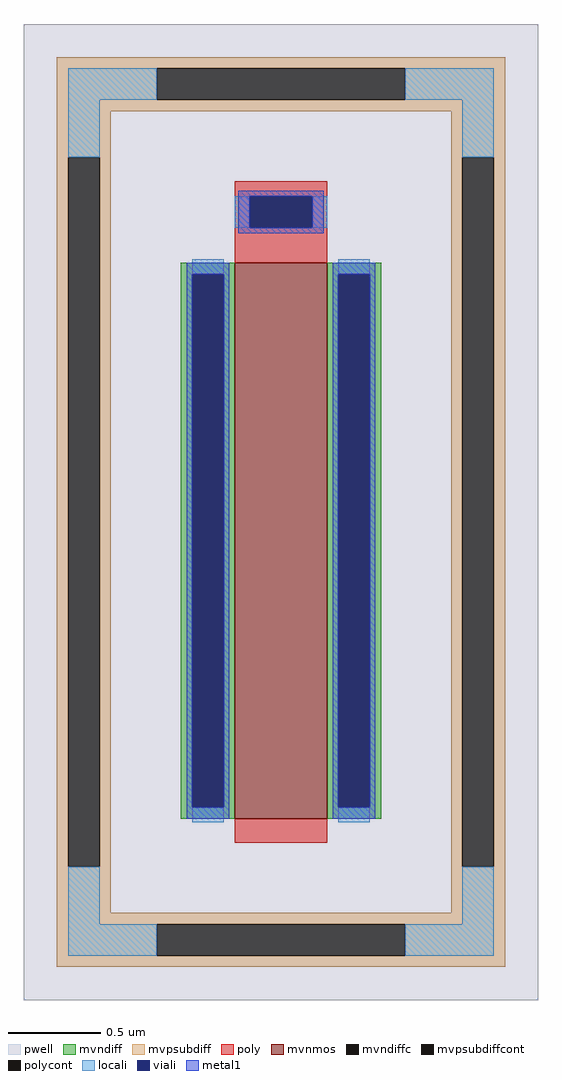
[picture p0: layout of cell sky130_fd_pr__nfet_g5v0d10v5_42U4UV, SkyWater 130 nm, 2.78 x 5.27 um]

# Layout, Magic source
magic
tech sky130A
magscale 1 2
<< pwell >>
rect -278 -527 278 527
<< mvnmos >>
rect -50 -331 50 269
<< mvndiff >>
rect -108 257 -50 269
rect -108 -319 -96 257
rect -62 -319 -50 257
rect -108 -331 -50 -319
rect 50 257 108 269
rect 50 -319 62 257
rect 96 -319 108 257
rect 50 -331 108 -319
<< mvndiffc >>
rect -96 -319 -62 257
rect 62 -319 96 257
<< mvpsubdiff >>
rect -242 479 242 491
rect -242 445 -134 479
rect 134 445 242 479
rect -242 433 242 445
rect -242 383 -184 433
rect -242 -383 -230 383
rect -196 -383 -184 383
rect 184 383 242 433
rect -242 -433 -184 -383
rect 184 -383 196 383
rect 230 -383 242 383
rect 184 -433 242 -383
rect -242 -445 242 -433
rect -242 -479 -134 -445
rect 134 -479 242 -445
rect -242 -491 242 -479
<< mvpsubdiffcont >>
rect -134 445 134 479
rect -230 -383 -196 383
rect 196 -383 230 383
rect -134 -479 134 -445
<< poly >>
rect -50 341 50 357
rect -50 307 -34 341
rect 34 307 50 341
rect -50 269 50 307
rect -50 -357 50 -331
<< polycont >>
rect -34 307 34 341
<< locali >>
rect -230 445 -134 479
rect 134 445 230 479
rect -230 383 -196 445
rect 196 383 230 445
rect -50 307 -34 341
rect 34 307 50 341
rect -96 257 -62 273
rect -96 -335 -62 -319
rect 62 257 96 273
rect 62 -335 96 -319
rect -230 -445 -196 -383
rect 196 -445 230 -383
rect -230 -479 -134 -445
rect 134 -479 230 -445
<< viali >>
rect -34 307 34 341
rect -96 -319 -62 257
rect 62 -319 96 257
<< metal1 >>
rect -46 341 46 347
rect -46 307 -34 341
rect 34 307 46 341
rect -46 301 46 307
rect -102 257 -56 269
rect -102 -319 -96 257
rect -62 -319 -56 257
rect -102 -331 -56 -319
rect 56 257 102 269
rect 56 -319 62 257
rect 96 -319 102 257
rect 56 -331 102 -319
<< properties >>
string FIXED_BBOX -213 -462 213 462
string gencell sky130_fd_pr__nfet_g5v0d10v5
string library sky130
string parameters w 3.0 l 0.5 m 1 nf 1 diffcov 100 polycov 100 guard 1 glc 1 grc 1 gtc 1 gbc 1 tbcov 100 rlcov 100 topc 1 botc 0 poverlap 0 doverlap 1 lmin 0.50 wmin 0.42 compatible {sky130_fd_pr__nfet_01v8 sky130_fd_pr__nfet_01v8_lvt  sky130_fd_bs_flash__special_sonosfet_star  sky130_fd_pr__nfet_g5v0d10v5 sky130_fd_pr__nfet_05v0_nvt  sky130_fd_pr__nfet_03v3_nvt} full_metal 1 viasrc 100 viadrn 100 viagate 100 viagb 0 viagr 0 viagl 0 viagt 0
<< end >>
